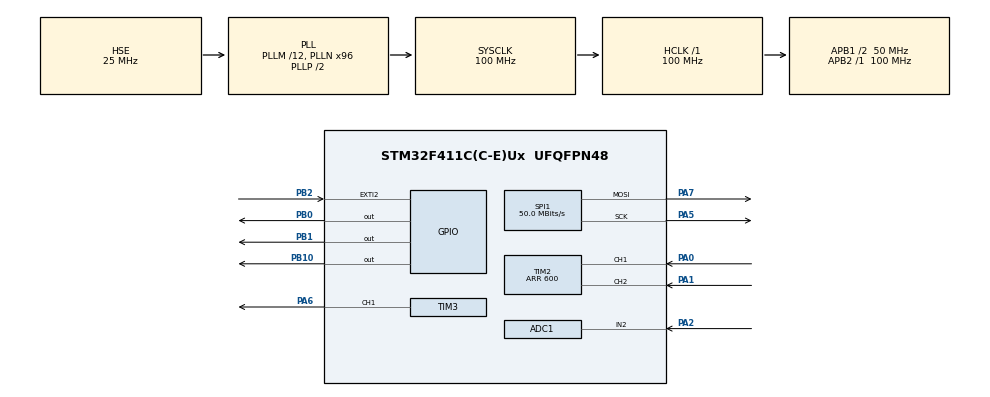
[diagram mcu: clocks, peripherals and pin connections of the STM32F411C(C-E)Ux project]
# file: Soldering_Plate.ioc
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Mcu.Family=STM32F4
Dma.SPI1_TX.0.MemInc=DMA_MINC_ENABLE
Dma.SPI1_TX.0.PeriphInc=DMA_PINC_DISABLE
RCC.CortexFreq_Value=100000000
Dma.ADC1.1.MemDataAlignment=DMA_MDATAALIGN_HALFWORD
SPI1.VirtualType=VM_MASTER
ADC1.ContinuousConvMode=ENABLE
SH.ADCx_IN2.0=ADC1_IN2,IN2
TIM2.EncoderMode=TIM_ENCODERMODE_TI12
RCC.SYSCLKSource=RCC_SYSCLKSOURCE_PLLCLK
ProjectManager.StackSize=0x400
PH0\ -\ OSC_IN.Signal=RCC_OSC_IN
Dma.ADC1.1.Instance=DMA2_Stream0
SPI1.Direction=SPI_DIRECTION_2LINES
RCC.HCLKFreq_Value=100000000
RCC.APB2TimFreq_Value=100000000
TIM3.Period=20000
ADC1.Channel-2\#ChannelRegularConversion=ADC_CHANNEL_2
Dma.ADC1.1.PeriphDataAlignment=DMA_PDATAALIGN_HALFWORD
SPI1.CalculateBaudRate=50.0 MBits/s
NVIC.DMA2_Stream0_IRQn=true\:0\:0\:false\:false\:true\:false\:true
RCC.AHBFreq_Value=100000000
TIM3.Channel-PWM\ Generation1\ CH1=TIM_CHANNEL_1
RCC.HSE_VALUE=25000000
PB2.Signal=GPXTI2
ADC1.Rank-2\#ChannelRegularConversion=1
PA14.Mode=Serial_Wire
TIM3.Prescaler=99
NVIC.TIM2_IRQn=true\:0\:0\:false\:false\:true\:true\:true
Dma.ADC1.1.Priority=DMA_PRIORITY_LOW
Dma.ADC1.1.Mode=DMA_NORMAL
SH.S_TIM3_CH1.0=TIM3_CH1,PWM Generation1 CH1
TIM4.Period=5000
PB2.GPIO_PuPd=GPIO_NOPULL
Dma.SPI1_TX.0.Mode=DMA_NORMAL
Mcu.Package=UFQFPN48
PA6.Signal=S_TIM3_CH1
PB1.Signal=GPIO_Output
Dma.ADC1.1.Direction=DMA_PERIPH_TO_MEMORY
Dma.ADC1.1.MemInc=DMA_MINC_ENABLE
NVIC.DMA2_Stream2_IRQn=true\:0\:0\:false\:false\:true\:false\:true
NVIC.EXTI2_IRQn=true\:0\:0\:false\:false\:true\:true\:true
Dma.Request1=ADC1
RCC.APB1TimFreq_Value=100000000
Dma.Request0=SPI1_TX
SPI1.BaudRatePrescaler=SPI_BAUDRATEPRESCALER_2
VP_TIM3_VS_ClockSourceINT.Mode=Internal
PA5.Mode=TX_Only_Simplex_Unidirect_Master
RCC.PLLSourceVirtual=RCC_PLLSOURCE_HSE
PA7.Mode=TX_Only_Simplex_Unidirect_Master
PH1\ -\ OSC_OUT.Mode=HSE-External-Oscillator
RCC.APB1CLKDivider=RCC_HCLK_DIV2
ADC1.SamplingTime-2\#ChannelRegularConversion=ADC_SAMPLETIME_3CYCLES
PA0-WKUP.Signal=S_TIM2_CH1_ETR
PA13.Signal=SYS_JTMS-SWDIO
SH.S_TIM2_CH2.0=TIM2_CH2,Encoder_Interface
Dma.SPI1_TX.0.FIFOMode=DMA_FIFOMODE_DISABLE
PH0\ -\ OSC_IN.Mode=HSE-External-Oscillator
ProjectManager.TargetToolchain=STM32CubeIDE
Dma.SPI1_TX.0.PeriphDataAlignment=DMA_PDATAALIGN_BYTE
Dma.SPI1_TX.0.Direction=DMA_MEMORY_TO_PERIPH
TIM4.Prescaler=9999
RCC.LSE_VALUE=32768
PA1.Signal=S_TIM2_CH2
PB10.Signal=GPIO_Output
PA5.Signal=SPI1_SCK
PH1\ -\ OSC_OUT.Signal=RCC_OSC_OUT
board=custom
RCC.VCOOutputFreq_Value=200000000
Dma.ADC1.1.FIFOMode=DMA_FIFOMODE_DISABLE
RCC.APB2Freq_Value=100000000
SPI1.Mode=SPI_MODE_MASTER
Dma.SPI1_TX.0.Instance=DMA2_Stream2
Dma.ADC1.1.PeriphInc=DMA_PINC_DISABLE
TIM2.Period=600
ADC1.DMAContinuousRequests=ENABLE
ADC1.NbrOfConversion=1
PA13.Mode=Serial_Wire
Mcu.Name=STM32F411C(C-E)Ux
PA2.Signal=ADCx_IN2
RCC.48MHZClocksFreq_Value=50000000
RCC.SYSCLKFreq_VALUE=100000000
ADC1.master=1
SH.S_TIM2_CH1_ETR.0=TIM2_CH1,Encoder_Interface
PA14.Signal=SYS_JTCK-SWCLK
ProjectManager.HeapSize=0x200
Dma.SPI1_TX.0.Priority=DMA_PRIORITY_LOW
Dma.SPI1_TX.0.MemDataAlignment=DMA_MDATAALIGN_BYTE
RCC.HSI_VALUE=16000000
VP_TIM4_VS_ClockSourceINT.Mode=Internal
NVIC.PriorityGroup=NVIC_PRIORITYGROUP_4
ADC1.NbrOfConversionFlag=1
RCC.PLLM=12
RCC.PLLN=96
NVIC.TIM4_IRQn=true\:0\:0\:false\:false\:true\:true\:true
RCC.APB1Freq_Value=50000000
PB0.Signal=GPIO_Output
PA7.Signal=SPI1_MOSI

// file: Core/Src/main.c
/* USER CODE BEGIN Header */
/**
  ******************************************************************************
  * @file           : main.c
  * @brief          : Main program body
  ******************************************************************************
  * @attention
  *
  * <h2><center>&copy; Copyright (c) 2022 STMicroelectronics.
  * All rights reserved.</center></h2>
  *
  * This software component is licensed by ST under BSD 3-Clause license,
  * the "License"; You may not use this file except in compliance with the
  * License. You may obtain a copy of the License at:
  *                        opensource.org/licenses/BSD-3-Clause
  *
  ******************************************************************************
  */
/* USER CODE END Header */
#include "main.h"

/* USER CODE BEGIN Includes */
#include "ILI9341_STM32_Driver.h"
#include "ILI9341_GFX.h"
#include "math.h"
#include "Filtros.h"
/* USER CODE END Includes */

/* USER CODE BEGIN PTD */
short position=0;
char buffer[30]={""};
char update=1;
short ADC_value=0;
float voltage=0;
float NTC_resistance=0;
double temperature=0.0;
char relay=0;
char led=0;
char bandera_temperatura=0;
char bandera_referencia=0;

#define A 3.0696e-4
#define B 7.6593e-4
#define C -6.9743e-6

// Constantes Control
float temperatura_actual=0;

short referencia=28;

float control_actual=0;
float control_atrasado=0;
float control_atrasadox2=0;

float error_actual=0;
float error_atrasado=0;
float error_atrasadox2=0;

int muestreo=0;

/* USER CODE END PTD */

ADC_HandleTypeDef hadc1;
DMA_HandleTypeDef hdma_adc1;

SPI_HandleTypeDef hspi1;
DMA_HandleTypeDef hdma_spi1_tx;

TIM_HandleTypeDef htim2;
TIM_HandleTypeDef htim3;
TIM_HandleTypeDef htim4;

void SystemClock_Config(void);
static void MX_GPIO_Init(void);
static void MX_DMA_Init(void);
static void MX_SPI1_Init(void);
static void MX_TIM2_Init(void);
static void MX_ADC1_Init(void);
static void MX_TIM4_Init(void);
static void MX_TIM3_Init(void);
/* USER CODE BEGIN PFP */

void HAL_TIM_IC_CaptureCallback(TIM_HandleTypeDef *htim){
	if(bandera_referencia==0){
		position=(TIM2->CNT)/4; // Get the counter
		if(position>3 && position<50){
			position=3;
			TIM2->CNT=12;
		}
		if(position>50 && position<=htim2.Init.Period){ // Volver a la opcion 4
			position=0;
			TIM2->CNT=0;
		}
	}else{
		referencia=(TIM2->CNT)/4; // Get the counter
		if(referencia<25){
			referencia=25;
			TIM2->CNT=100;
		}
	}
	update=1; // Update the Interfaz
}
void HAL_TIM_PeriodElapsedCallback(TIM_HandleTypeDef *htim){ // This will be execute every 50hz
	HAL_ADC_Start_DMA(&hadc1, (uint32_t *)&ADC_value, 1); // Start the ADC with DMA
}
void HAL_ADC_ConvCpltCallback(ADC_HandleTypeDef* hadc){

	bandera_temperatura=1;

	// Filtrar
	voltage=ADC_value*3.3/4095.0; // Calculate the output voltage
	NTC_resistance=(voltage*250.0)/(3.3-voltage); //Calculate the NTC resistance
	temperature=(1.0/(A+ (B*log(NTC_resistance)) + (C*(pow(log(NTC_resistance),3))) )) -273.15;

	// Filter and calculated
	temperatura_actual=FIR(temperature); // Filter the temperature
	if(relay==1){
		muestreo++;
		if(muestreo>=10*2){ // Control cada 10s
			muestreo=0;
			// Calcular error
			error_actual=(referencia-temperatura_actual); // Calculo el error

			// Calcular control
			control_actual=0.1838*error_actual-0.1404*error_atrasado+0.02477*error_atrasadox2-0.5517*control_atrasado+0.04517*control_atrasadox2;

			// Actualizar variables
			control_atrasadox2=control_atrasado;
			control_atrasado=control_actual;

			error_atrasadox2=error_atrasado;
			error_atrasado=error_actual;

			// Limitar la señal de control

			// Escalar a PWM
			if(control_actual<0){
				TIM3->CCR1=0;
			}else{
				TIM3->CCR1=control_actual*20000/1;
				if(TIM3->CCR1>20000){
					TIM3->CCR1=20000;
				}
			}
		}
	}

}
void HAL_GPIO_EXTI_Callback(uint16_t GPIO_Pin){
	if(GPIO_Pin==GPIO_PIN_2){
		led=1; // Update the Led indicator
		if(position==0){
			relay=1;
		}else if(position==1){
			relay=0;
		}
		if(position==3){// Change reference
			bandera_referencia^=1;
			position=3;
			TIM2->CNT=12;
		}
	}
}
//void HAL_ADC_Comp
/* USER CODE END PFP */

int main(void)
{

  /* MCU Configuration--------------------------------------------------------*/

  /* Reset of all peripherals, Initializes the Flash interface and the Systick. */
  HAL_Init();

  /* Configure the system clock */
  SystemClock_Config();

  /* Initialize all configured peripherals */
  MX_GPIO_Init();
  MX_DMA_Init();
  MX_SPI1_Init();
  MX_TIM2_Init();
  MX_ADC1_Init();
  MX_TIM4_Init();
  MX_TIM3_Init();
  /* USER CODE BEGIN 2 */

  // TFT Init and Default Messages
  ILI9341_Init();

  ILI9341_SetRotation(SCREEN_HORIZONTAL_1);
  ILI9341_FillScreen(DARKCYAN);
  ILI9341_DrawText("Encender", FONT4, 30, 60, BLACK, DARKCYAN);
  ILI9341_DrawText("Apagar", FONT4, 180, 60, BLACK, DARKCYAN);
  ILI9341_DrawText("Temperatura:", FONT4, 180, 180, BLACK, DARKCYAN);
  ILI9341_DrawText("Ref:", FONT4, 180, 150, BLACK, DARKCYAN);
  ILI9341_DrawFilledCircle(60, 180, 30, GREEN);

  // HAL ENCODER MODULE
  HAL_TIM_Encoder_Start_IT(&htim2, TIM_CHANNEL_ALL); // Init the timer enconder mode

  // HAL ADC MODULE
  HAL_ADC_Start_DMA(&hadc1, (uint32_t *)&ADC_value, 1); // Start the ADC with DMA

  // HAL EXTI MODULE
  HAL_TIM_Base_Start_IT(&htim4); // Start the Time Base

  // HAL PWM Module
  HAL_TIM_PWM_Start(&htim3, TIM_CHANNEL_1); // Start the PWM channel 1

  /* USER CODE END 2 */

  /* Infinite loop */
  /* USER CODE BEGIN WHILE */
  while (1)
  {
	  if(bandera_temperatura==1){
		bandera_temperatura=0;
		sprintf(buffer, "%.2f", temperatura_actual);
		ILI9341_DrawText(buffer, FONT4, 180, 200, BLACK, DARKCYAN);
		sprintf(buffer, " %d  ", referencia);
		ILI9341_DrawText(buffer, FONT4, 220, 150, BLACK, DARKCYAN);
	  }
	  // Show Led Alert
	 if(led==1){
		 led=0; // Reset the Indicator Flag
		 if(relay==0){
			 TIM3->CCR1=0; // Apagar el calefactor
			 ILI9341_DrawFilledCircle(60, 180, 30, GREEN);
		 }else{
			 ILI9341_DrawFilledCircle(60, 180, 30, RED);
		 }
	 }
	 if(update==1 ){
		 update=0;
		 switch(position){
		 case 0:
			 for(short i=0;i<4;i++)ILI9341_DrawHollowRectangleCoord(10+i, 10+i, 150-i, 110-i, RED); // Write Square 0
			 for(short i=0;i<4;i++)ILI9341_DrawHollowRectangleCoord(170+i, 10+i, 310-i, 110-i, DARKCYAN);//Delete Square 1
			 for(short i=0;i<4;i++)ILI9341_DrawHollowRectangleCoord(10+i, 130+i, 150-i, 230-i, DARKCYAN); // Delete Square 2
			 for(short i=0;i<4;i++)ILI9341_DrawHollowRectangleCoord(170+i, 130+i, 310-i, 230-i, DARKCYAN); // Delete Square 3
			 break;
		 case 1:
			 for(short i=0;i<4;i++)ILI9341_DrawHollowRectangleCoord(10+i, 10+i, 150-i, 110-i, DARKCYAN); // Delete Square 0
			 for(short i=0;i<4;i++)ILI9341_DrawHollowRectangleCoord(170+i, 10+i, 310-i, 110-i, RED); // Write Square 1
			 for(short i=0;i<4;i++)ILI9341_DrawHollowRectangleCoord(10+i, 130+i, 150-i, 230-i, DARKCYAN); // Delete Square 2
			 for(short i=0;i<4;i++)ILI9341_DrawHollowRectangleCoord(170+i, 130+i, 310-i, 230-i, DARKCYAN); // Delete Square 3
			 break;
		 case 2:
			 for(short i=0;i<4;i++)ILI9341_DrawHollowRectangleCoord(10+i, 10+i, 150-i, 110-i, DARKCYAN); // Delete Square 0
			 for(short i=0;i<4;i++)ILI9341_DrawHollowRectangleCoord(170+i, 10+i, 310-i, 110-i, DARKCYAN);// Delete Square 1
			 for(short i=0;i<4;i++)ILI9341_DrawHollowRectangleCoord(10+i, 130+i, 150-i, 230-i, RED); // Write Square 2
			 for(short i=0;i<4;i++)ILI9341_DrawHollowRectangleCoord(170+i, 130+i, 310-i, 230-i, DARKCYAN); // Delete Square 3
			 break;
		 case 3:
			 for(short i=0;i<4;i++)ILI9341_DrawHollowRectangleCoord(10+i, 10+i, 150-i, 110-i, DARKCYAN); // Delete Square 0
			 for(short i=0;i<4;i++)ILI9341_DrawHollowRectangleCoord(170+i, 10+i, 310-i, 110-i, DARKCYAN);// Delete Square 1
			 for(short i=0;i<4;i++)ILI9341_DrawHollowRectangleCoord(10+i, 130+i, 150-i, 230-i, DARKCYAN); // Delete Square 2
			 for(short i=0;i<4;i++)ILI9341_DrawHollowRectangleCoord(170+i, 130+i, 310-i, 230-i, RED); // Write Square 3
			 break;
		 }

	 }

    /* USER CODE END WHILE */

  }
}

void SystemClock_Config(void)
{
  RCC_OscInitTypeDef RCC_OscInitStruct = {0};
  RCC_ClkInitTypeDef RCC_ClkInitStruct = {0};

  /** Configure the main internal regulator output voltage
  */
  __HAL_RCC_PWR_CLK_ENABLE();
  __HAL_PWR_VOLTAGESCALING_CONFIG(PWR_REGULATOR_VOLTAGE_SCALE1);
  /** Initializes the RCC Oscillators according to the specified parameters
  * in the RCC_OscInitTypeDef structure.
  */
  RCC_OscInitStruct.OscillatorType = RCC_OSCILLATORTYPE_HSE;
  RCC_OscInitStruct.HSEState = RCC_HSE_ON;
  RCC_OscInitStruct.PLL.PLLState = RCC_PLL_ON;
  RCC_OscInitStruct.PLL.PLLSource = RCC_PLLSOURCE_HSE;
  RCC_OscInitStruct.PLL.PLLM = 12;
  RCC_OscInitStruct.PLL.PLLN = 96;
  RCC_OscInitStruct.PLL.PLLP = RCC_PLLP_DIV2;
  RCC_OscInitStruct.PLL.PLLQ = 4;
  if (HAL_RCC_OscConfig(&RCC_OscInitStruct) != HAL_OK)
  {
    Error_Handler();
  }
  /** Initializes the CPU, AHB and APB buses clocks
  */
  RCC_ClkInitStruct.ClockType = RCC_CLOCKTYPE_HCLK|RCC_CLOCKTYPE_SYSCLK
                              |RCC_CLOCKTYPE_PCLK1|RCC_CLOCKTYPE_PCLK2;
  RCC_ClkInitStruct.SYSCLKSource = RCC_SYSCLKSOURCE_PLLCLK;
  RCC_ClkInitStruct.AHBCLKDivider = RCC_SYSCLK_DIV1;
  RCC_ClkInitStruct.APB1CLKDivider = RCC_HCLK_DIV2;
  RCC_ClkInitStruct.APB2CLKDivider = RCC_HCLK_DIV1;

  if (HAL_RCC_ClockConfig(&RCC_ClkInitStruct, FLASH_LATENCY_3) != HAL_OK)
  {
    Error_Handler();
  }
}

static void MX_ADC1_Init(void)
{

  ADC_ChannelConfTypeDef sConfig = {0};

  /** Configure the global features of the ADC (Clock, Resolution, Data Alignment and number of conversion)
  */
  hadc1.Instance = ADC1;
  hadc1.Init.ClockPrescaler = ADC_CLOCK_SYNC_PCLK_DIV4;
  hadc1.Init.Resolution = ADC_RESOLUTION_12B;
  hadc1.Init.ScanConvMode = DISABLE;
  hadc1.Init.ContinuousConvMode = ENABLE;
  hadc1.Init.DiscontinuousConvMode = DISABLE;
  hadc1.Init.ExternalTrigConvEdge = ADC_EXTERNALTRIGCONVEDGE_NONE;
  hadc1.Init.ExternalTrigConv = ADC_SOFTWARE_START;
  hadc1.Init.DataAlign = ADC_DATAALIGN_RIGHT;
  hadc1.Init.NbrOfConversion = 1;
  hadc1.Init.DMAContinuousRequests = ENABLE;
  hadc1.Init.EOCSelection = ADC_EOC_SINGLE_CONV;
  if (HAL_ADC_Init(&hadc1) != HAL_OK)
  {
    Error_Handler();
  }
  /** Configure for the selected ADC regular channel its corresponding rank in the sequencer and its sample time.
  */
  sConfig.Channel = ADC_CHANNEL_2;
  sConfig.Rank = 1;
  sConfig.SamplingTime = ADC_SAMPLETIME_3CYCLES;
  if (HAL_ADC_ConfigChannel(&hadc1, &sConfig) != HAL_OK)
  {
    Error_Handler();
  }

}

static void MX_SPI1_Init(void)
{

  /* SPI1 parameter configuration*/
  hspi1.Instance = SPI1;
  hspi1.Init.Mode = SPI_MODE_MASTER;
  hspi1.Init.Direction = SPI_DIRECTION_2LINES;
  hspi1.Init.DataSize = SPI_DATASIZE_8BIT;
  hspi1.Init.CLKPolarity = SPI_POLARITY_LOW;
  hspi1.Init.CLKPhase = SPI_PHASE_1EDGE;
  hspi1.Init.NSS = SPI_NSS_SOFT;
  hspi1.Init.BaudRatePrescaler = SPI_BAUDRATEPRESCALER_2;
  hspi1.Init.FirstBit = SPI_FIRSTBIT_MSB;
  hspi1.Init.TIMode = SPI_TIMODE_DISABLE;
  hspi1.Init.CRCCalculation = SPI_CRCCALCULATION_DISABLE;
  hspi1.Init.CRCPolynomial = 10;
  if (HAL_SPI_Init(&hspi1) != HAL_OK)
  {
    Error_Handler();
  }

}

static void MX_TIM2_Init(void)
{

  TIM_Encoder_InitTypeDef sConfig = {0};
  TIM_MasterConfigTypeDef sMasterConfig = {0};

  htim2.Instance = TIM2;
  htim2.Init.Prescaler = 0;
  htim2.Init.CounterMode = TIM_COUNTERMODE_UP;
  htim2.Init.Period = 920;
  htim2.Init.ClockDivision = TIM_CLOCKDIVISION_DIV1;
  htim2.Init.AutoReloadPreload = TIM_AUTORELOAD_PRELOAD_DISABLE;
  sConfig.EncoderMode = TIM_ENCODERMODE_TI12;
  sConfig.IC1Polarity = TIM_ICPOLARITY_RISING;
  sConfig.IC1Selection = TIM_ICSELECTION_DIRECTTI;
  sConfig.IC1Prescaler = TIM_ICPSC_DIV1;
  sConfig.IC1Filter = 0;
  sConfig.IC2Polarity = TIM_ICPOLARITY_RISING;
  sConfig.IC2Selection = TIM_ICSELECTION_DIRECTTI;
  sConfig.IC2Prescaler = TIM_ICPSC_DIV1;
  sConfig.IC2Filter = 0;
  if (HAL_TIM_Encoder_Init(&htim2, &sConfig) != HAL_OK)
  {
    Error_Handler();
  }
  sMasterConfig.MasterOutputTrigger = TIM_TRGO_RESET;
  sMasterConfig.MasterSlaveMode = TIM_MASTERSLAVEMODE_DISABLE;
  if (HAL_TIMEx_MasterConfigSynchronization(&htim2, &sMasterConfig) != HAL_OK)
  {
    Error_Handler();
  }

}

static void MX_TIM3_Init(void)
{

  TIM_ClockConfigTypeDef sClockSourceConfig = {0};
  TIM_MasterConfigTypeDef sMasterConfig = {0};
  TIM_OC_InitTypeDef sConfigOC = {0};

  htim3.Instance = TIM3;
  htim3.Init.Prescaler = 99;
  htim3.Init.CounterMode = TIM_COUNTERMODE_UP;
  htim3.Init.Period = 20000;
  htim3.Init.ClockDivision = TIM_CLOCKDIVISION_DIV1;
  htim3.Init.AutoReloadPreload = TIM_AUTORELOAD_PRELOAD_DISABLE;
  if (HAL_TIM_Base_Init(&htim3) != HAL_OK)
  {
    Error_Handler();
  }
  sClockSourceConfig.ClockSource = TIM_CLOCKSOURCE_INTERNAL;
  if (HAL_TIM_ConfigClockSource(&htim3, &sClockSourceConfig) != HAL_OK)
  {
    Error_Handler();
  }
  if (HAL_TIM_PWM_Init(&htim3) != HAL_OK)
  {
    Error_Handler();
  }
  sMasterConfig.MasterOutputTrigger = TIM_TRGO_RESET;
  sMasterConfig.MasterSlaveMode = TIM_MASTERSLAVEMODE_DISABLE;
  if (HAL_TIMEx_MasterConfigSynchronization(&htim3, &sMasterConfig) != HAL_OK)
  {
    Error_Handler();
  }
  sConfigOC.OCMode = TIM_OCMODE_PWM1;
  sConfigOC.Pulse = 0;
  sConfigOC.OCPolarity = TIM_OCPOLARITY_HIGH;
  sConfigOC.OCFastMode = TIM_OCFAST_DISABLE;
  if (HAL_TIM_PWM_ConfigChannel(&htim3, &sConfigOC, TIM_CHANNEL_1) != HAL_OK)
  {
    Error_Handler();
  }
  HAL_TIM_MspPostInit(&htim3);

}

static void MX_TIM4_Init(void)
{

  TIM_ClockConfigTypeDef sClockSourceConfig = {0};
  TIM_MasterConfigTypeDef sMasterConfig = {0};

  htim4.Instance = TIM4;
  htim4.Init.Prescaler = 9999;
  htim4.Init.CounterMode = TIM_COUNTERMODE_UP;
  htim4.Init.Period = 5000;
  htim4.Init.ClockDivision = TIM_CLOCKDIVISION_DIV1;
  htim4.Init.AutoReloadPreload = TIM_AUTORELOAD_PRELOAD_DISABLE;
  if (HAL_TIM_Base_Init(&htim4) != HAL_OK)
  {
    Error_Handler();
  }
  sClockSourceConfig.ClockSource = TIM_CLOCKSOURCE_INTERNAL;
  if (HAL_TIM_ConfigClockSource(&htim4, &sClockSourceConfig) != HAL_OK)
  {
    Error_Handler();
  }
  sMasterConfig.MasterOutputTrigger = TIM_TRGO_RESET;
  sMasterConfig.MasterSlaveMode = TIM_MASTERSLAVEMODE_DISABLE;
  if (HAL_TIMEx_MasterConfigSynchronization(&htim4, &sMasterConfig) != HAL_OK)
  {
    Error_Handler();
  }

}

static void MX_DMA_Init(void)
{

  /* DMA controller clock enable */
  __HAL_RCC_DMA2_CLK_ENABLE();

  /* DMA interrupt init */
  /* DMA2_Stream0_IRQn interrupt configuration */
  HAL_NVIC_SetPriority(DMA2_Stream0_IRQn, 0, 0);
  HAL_NVIC_EnableIRQ(DMA2_Stream0_IRQn);
  /* DMA2_Stream2_IRQn interrupt configuration */
  HAL_NVIC_SetPriority(DMA2_Stream2_IRQn, 0, 0);
  HAL_NVIC_EnableIRQ(DMA2_Stream2_IRQn);

}

static void MX_GPIO_Init(void)
{
  GPIO_InitTypeDef GPIO_InitStruct = {0};

  /* GPIO Ports Clock Enable */
  __HAL_RCC_GPIOH_CLK_ENABLE();
  __HAL_RCC_GPIOA_CLK_ENABLE();
  __HAL_RCC_GPIOB_CLK_ENABLE();

  /*Configure GPIO pin Output Level */
  HAL_GPIO_WritePin(GPIOB, GPIO_PIN_0|GPIO_PIN_1|GPIO_PIN_10, GPIO_PIN_RESET);

  /*Configure GPIO pins : PB0 PB1 PB10 */
  GPIO_InitStruct.Pin = GPIO_PIN_0|GPIO_PIN_1|GPIO_PIN_10;
  GPIO_InitStruct.Mode = GPIO_MODE_OUTPUT_PP;
  GPIO_InitStruct.Pull = GPIO_NOPULL;
  GPIO_InitStruct.Speed = GPIO_SPEED_FREQ_LOW;
  HAL_GPIO_Init(GPIOB, &GPIO_InitStruct);

  /*Configure GPIO pin : PB2 */
  GPIO_InitStruct.Pin = GPIO_PIN_2;
  GPIO_InitStruct.Mode = GPIO_MODE_IT_RISING;
  GPIO_InitStruct.Pull = GPIO_NOPULL;
  HAL_GPIO_Init(GPIOB, &GPIO_InitStruct);

  /* EXTI interrupt init*/
  HAL_NVIC_SetPriority(EXTI2_IRQn, 0, 0);
  HAL_NVIC_EnableIRQ(EXTI2_IRQn);

}

void Error_Handler(void)
{
  __disable_irq();
  while (1)
  {
  }
}

/************************ (C) COPYRIGHT STMicroelectronics *****END OF FILE****/
